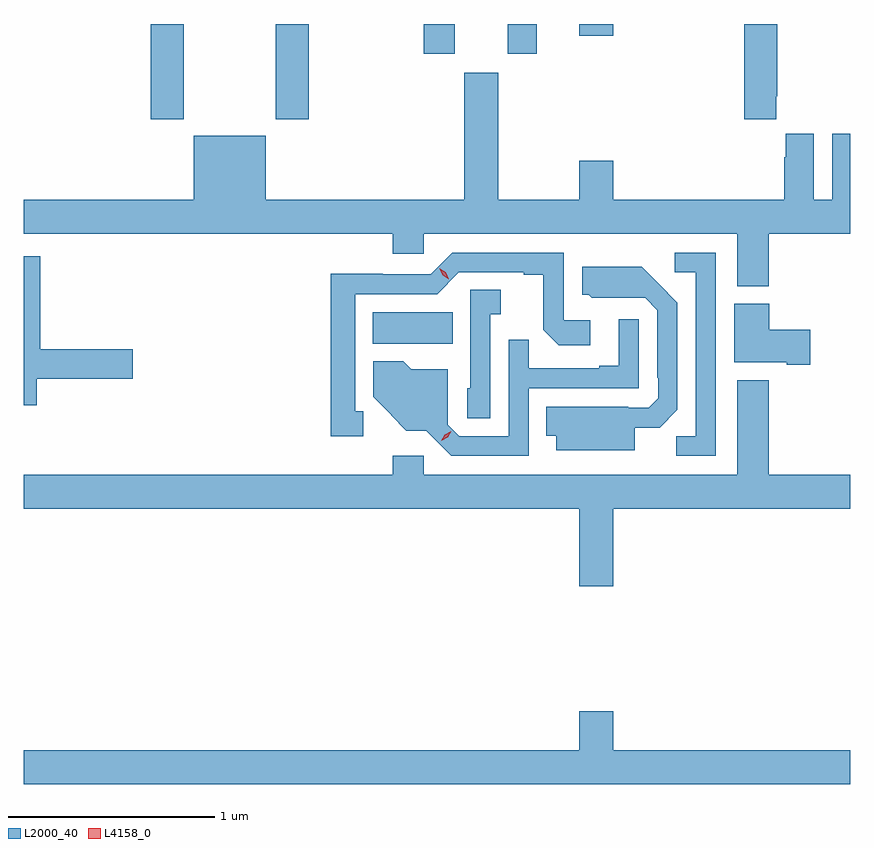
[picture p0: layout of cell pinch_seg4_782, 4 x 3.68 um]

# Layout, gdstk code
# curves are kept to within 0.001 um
import gdstk
lib = gdstk.Library(unit=1e-6, precision=1e-09)
def R(c, l, rs):  # rectangles x0, y0, x1, y1
    for r in rs: c.add(gdstk.rectangle(r[:2], r[2:], *l))
def P(c, l, *ps):  # polygons
    for p in ps: c.add(gdstk.Polygon(p, *l))
L2000_40 = (2000, 40)
L4158_0 = (4158, 0)

pinch_seg4_782 = lib.new_cell('pinch_seg4_782')
R(pinch_seg4_782, L2000_40, [(799.373,816.266,799.76,816.418), (798.299,817.353,798.459,817.814), (798.904,817.353,799.064,817.814), (799.619,817.671,799.771,817.814), (800.027,817.671,800.167,817.814), (800.372,817.758,800.536,817.814)])
P(pinch_seg4_782, L2000_40, [(801.325,817.465),(801.33,817.465),(801.33,817.814),(801.17,817.814),(801.17,817.353),(801.325,817.353)],
  [(801.29,816.8),(801.684,816.8),(801.684,817.282),(801.596,817.282),(801.596,816.964),(801.508,816.964),(801.508,817.282),(801.371,817.282),(801.371,817.169),(801.365,817.169),(801.365,816.964),(800.536,816.964),(800.536,817.153),(800.372,817.153),(800.372,816.964),(799.981,816.964),(799.981,817.579),(799.817,817.579),(799.817,816.964),(798.856,816.964),(798.856,817.273),(798.506,817.273),(798.506,816.964),(797.684,816.964),(797.684,816.8),(799.469,816.8),(799.469,816.702),(799.62,816.702),(799.62,816.8),(801.137,816.8),(801.137,816.545),(801.29,816.545)],
  [(801.033,816.708),(800.835,816.708),(800.835,816.612),(800.937,816.612),(800.937,815.819),(800.841,815.819),(800.841,815.724),(801.033,815.724)],
  [(799.326,815.94),(799.288,815.94),(799.288,816.507),(799.685,816.507),(799.79,816.612),(800.105,816.612),(800.105,816.6),(800.199,816.6),(800.199,816.335),(800.274,816.26),(800.425,816.26),(800.425,816.381),(800.298,816.381),(800.298,816.708),(799.758,816.708),(799.653,816.603),(799.421,816.603),(799.421,816.605),(799.17,816.605),(799.17,815.82),(799.326,815.82)],
  [(797.746,816.097),(798.211,816.097),(798.211,816.239),(797.765,816.239),(797.765,816.69),(797.684,816.69),(797.684,815.969),(797.746,815.969)],
  [(800.641,815.86),(800.761,815.86),(800.847,815.946),(800.847,816.466),(800.675,816.64),(800.387,816.64),(800.387,816.504),(800.418,816.504),(800.434,816.488),(800.691,816.489),(800.751,816.429),(800.751,816.103),(800.754,816.103),(800.754,816.003),(800.709,815.958),(800.609,815.958),(800.609,815.962),(800.212,815.962),(800.212,815.822),(800.261,815.822),(800.261,815.75),(800.641,815.75)],
  [(799.941,816.409),(799.993,816.409),(799.993,816.527),(799.845,816.527),(799.845,816.051),(799.83,816.051),(799.83,815.907),(799.941,815.907)],
  [(801.49,816.334),(801.292,816.334),(801.292,816.46),(801.122,816.46),(801.122,816.176),(801.377,816.176),(801.377,816.164),(801.49,816.164)],
  [(800.127,816.051),(800.661,816.051),(800.661,816.385),(800.564,816.385),(800.564,816.16),(800.468,816.16),(800.468,816.147),(800.129,816.147),(800.129,816.286),(800.031,816.286),(800.031,815.82),(799.791,815.82),(799.737,815.874),(799.737,816.142),(799.559,816.142),(799.52,816.181),(799.376,816.181),(799.376,816.009),(799.464,815.921),(799.462,815.92),(799.536,815.846),(799.632,815.846),(799.754,815.724),(800.127,815.724)],
  [(800.536,815.468),(801.684,815.468),(801.684,815.632),(801.29,815.632),(801.29,816.091),(801.137,816.091),(801.137,815.632),(799.62,815.632),(799.62,815.725),(799.469,815.725),(799.469,815.632),(797.684,815.632),(797.684,815.468),(800.372,815.468),(800.372,815.094),(800.536,815.094)],
  [(801.684,814.3),(800.536,814.3),(800.536,814.489),(800.372,814.489),(800.372,814.3),(797.684,814.3),(797.684,814.136),(801.684,814.136)])
P(pinch_seg4_782, L4158_0, [(799.704,815.797),(799.704,815.797),(799.721,815.827),(799.752,815.843),(799.752,815.843),(799.752,815.843),(799.735,815.813),(799.705,815.797)],
  [(799.741,816.579),(799.711,816.599),(799.696,816.631),(799.696,816.632),(799.696,816.632),(799.726,816.612),(799.742,816.579),(799.742,816.579)])

lib.write_gds('pinch_seg4_782.gds')
